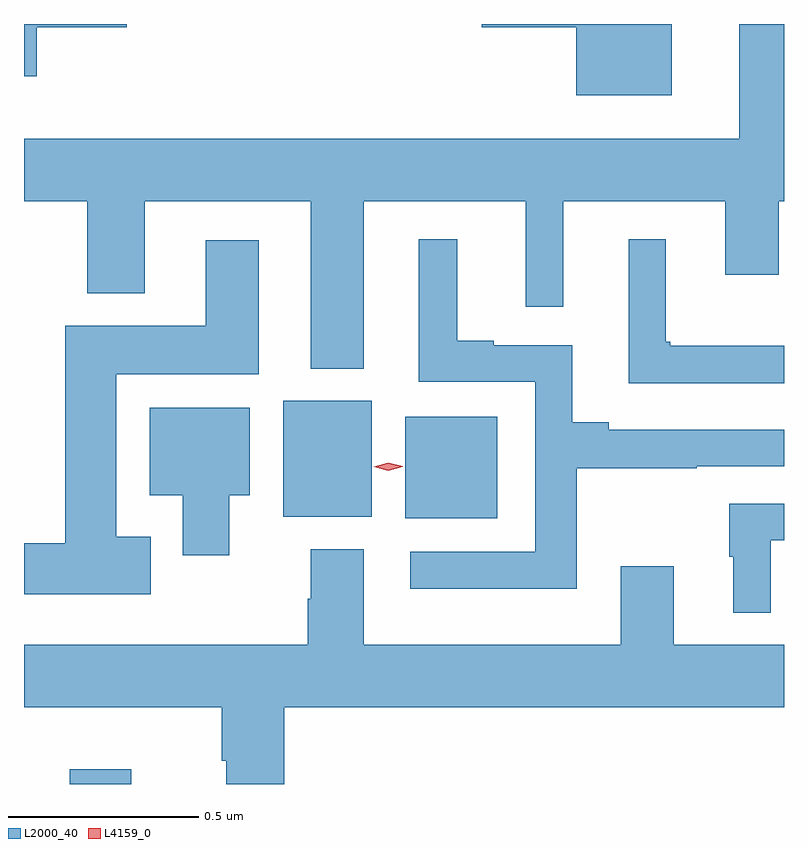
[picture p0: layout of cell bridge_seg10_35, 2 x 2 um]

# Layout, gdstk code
import gdstk
lib = gdstk.Library(unit=1e-6, precision=1e-09)
def R(c, l, rs):  # rectangles x0, y0, x1, y1
    for r in rs: c.add(gdstk.rectangle(r[:2], r[2:], *l))
def P(c, l, *ps):  # polygons
    for p in ps: c.add(gdstk.Polygon(p, *l))
L2000_40 = (2000, 40)
L4159_0 = (4159, 0)

bridge_seg10_35 = lib.new_cell('bridge_seg10_35')
R(bridge_seg10_35, L2000_40, [(940.142,1322.758,940.303,1322.797), (941.024,1323.458,941.266,1323.724), (940.703,1323.461,940.936,1323.766)])
P(bridge_seg10_35, L2000_40, [(940.915,1324.292),(941.342,1324.292),(941.342,1324.014),(941.44,1324.014),(941.44,1324.292),(941.867,1324.292),(941.867,1324.098),(942.007,1324.098),(942.007,1324.292),(942.021,1324.292),(942.021,1324.758),(941.903,1324.758),(941.903,1324.456),(940.021,1324.456),(940.021,1324.292),(940.187,1324.292),(940.187,1324.049),(940.339,1324.049),(940.339,1324.292),(940.775,1324.292),(940.775,1323.851),(940.915,1323.851)],
  [(940.055,1324.75),(940.291,1324.75),(940.291,1324.758),(940.021,1324.758),(940.021,1324.62),(940.055,1324.62)],
  [(941.725,1324.758),(941.226,1324.758),(941.226,1324.75),(941.474,1324.75),(941.474,1324.571),(941.725,1324.571)],
  [(942.021,1323.911),(941.722,1323.911),(941.722,1323.922),(941.71,1323.922),(941.71,1324.192),(941.612,1324.192),(941.612,1323.813),(942.021,1323.813)],
  [(941.476,1323.589),(941.792,1323.589),(941.792,1323.594),(942.021,1323.594),(942.021,1323.69),(941.56,1323.69),(941.56,1323.71),(941.464,1323.71),(941.464,1323.912),(941.257,1323.912),(941.257,1323.925),(941.161,1323.925),(941.161,1324.192),(941.06,1324.192),(941.06,1323.816),(941.367,1323.816),(941.367,1323.369),(941.037,1323.369),(941.037,1323.272),(941.476,1323.272)],
  [(940.354,1323.409),(940.264,1323.409),(940.264,1323.836),(940.639,1323.836),(940.639,1324.189),(940.499,1324.189),(940.499,1323.964),(940.13,1323.964),(940.13,1323.392),(940.021,1323.392),(940.021,1323.257),(940.354,1323.257)],
  [(940.561,1323.518),(940.615,1323.518),(940.615,1323.748),(940.352,1323.748),(940.352,1323.518),(940.439,1323.518),(940.439,1323.36),(940.561,1323.36)],
  [(941.986,1323.399),(942.021,1323.399),(942.021,1323.495),(941.877,1323.495),(941.877,1323.356),(941.888,1323.356),(941.888,1323.209),(941.986,1323.209)],
  [(940.706,1322.96),(942.021,1322.96),(942.021,1323.124),(941.731,1323.124),(941.731,1323.331),(941.591,1323.331),(941.591,1323.124),(940.915,1323.124),(940.915,1323.376),(940.775,1323.376),(940.775,1323.245),(940.768,1323.245),(940.768,1323.124),(940.021,1323.124),(940.021,1322.96),(940.541,1322.96),(940.541,1322.819),(940.553,1322.819),(940.553,1322.758),(940.706,1322.758)])
P(bridge_seg10_35, L4159_0, [(940.98,1323.583),(940.942,1323.593),(940.942,1323.593),(940.942,1323.593),(940.98,1323.603),(941.018,1323.594),(941.018,1323.594),(941.018,1323.593)])

lib.write_gds('bridge_seg10_35.gds')
